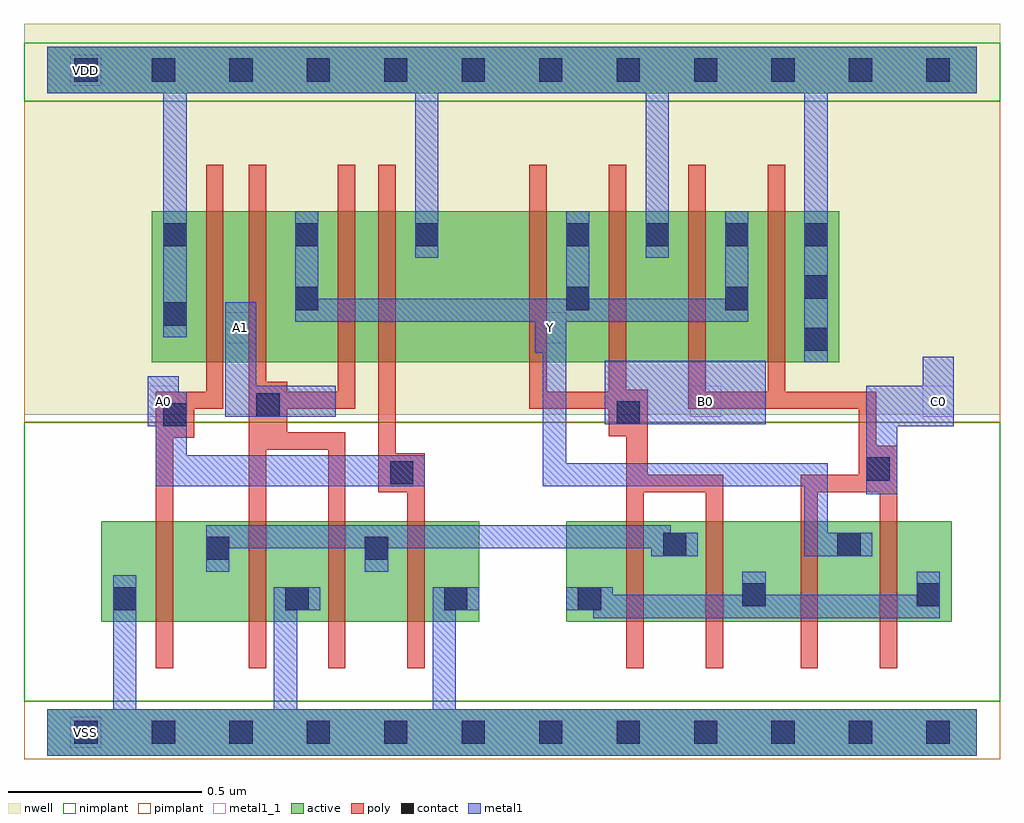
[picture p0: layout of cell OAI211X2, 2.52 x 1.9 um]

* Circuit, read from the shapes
.subckt OAI211X2 A0 A1 B0 C0 VDD VSS Y
M1 n1 A0 VSS VSS nfet w=0.26u l=0.045u m=2
M2 VSS A1 n1 VSS nfet w=0.26u l=0.045u m=2
M3 n1 B0 n2 VSS nfet w=0.26u l=0.045u m=2
M4 Y C0 n2 VSS nfet w=0.26u l=0.045u m=2
M5 n3 A0 VDD VDD pfet w=0.39u l=0.045u
M6 Y A1 n3 VDD pfet w=0.39u l=0.045u
M7 n4 A1 Y VDD pfet w=0.39u l=0.045u
M8 VDD A0 n4 VDD pfet w=0.39u l=0.045u
M9 Y B0 VDD VDD pfet w=0.39u l=0.045u m=2
M10 Y C0 VDD VDD pfet w=0.39u l=0.045u m=2
.ends

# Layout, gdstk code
import gdstk
lib = gdstk.Library(unit=1e-6, precision=5e-10)
def R(c, l, rs):  # rectangles x0, y0, x1, y1
    for r in rs: c.add(gdstk.rectangle(r[:2], r[2:], *l))
def A(c, l, x, y, w, h, nx, ny, dx, dy):  # array of equal rectangles
    R(c, l, [(x+i*dx, y+j*dy, x+i*dx+w, y+j*dy+h) for i in range(nx) for j in range(ny)])
def P(c, l, *ps):  # polygons
    for p in ps: c.add(gdstk.Polygon(p, *l))
active = (1, 0)
nwell = (2, 0)
poly = (3, 0)
nimplant = (4, 0)
pimplant = (5, 0)
contact = (6, 0)
metal1 = (7, 0)
metal1_1 = (7, 1)

oai211x2 = lib.new_cell('OAI211X2')
R(oai211x2, active, [(0,-0.06,2.4,0.06), (0.14,0.285,1.115,0.545), (1.34,0.285,2.335,0.545), (0.27,0.955,2.045,1.345), (0,1.65,2.4,1.77)])
R(oai211x2, nwell, [(-0.06,0.82,2.46,1.83)])
P(oai211x2, poly, [(0.41,1.465),(0.455,1.465),(0.455,0.835),(0.38,0.835),(0.38,0.76),(0.325,0.76),(0.325,0.165),(0.28,0.165),(0.28,0.88),(0.41,0.88)],
  [(0.52,1.465),(0.565,1.465),(0.565,0.905),(0.62,0.905),(0.62,0.88),(0.75,0.88),(0.75,1.465),(0.795,1.465),(0.795,0.835),(0.62,0.835),(0.62,0.775),(0.77,0.775),(0.77,0.165),(0.725,0.165),(0.725,0.73),(0.565,0.73),(0.565,0.165),(0.52,0.165)],
  [(0.855,1.465),(0.9,1.465),(0.9,0.72),(0.975,0.72),(0.975,0.165),(0.93,0.165),(0.93,0.62),(0.855,0.62)],
  [(1.245,1.465),(1.29,1.465),(1.29,0.88),(1.45,0.88),(1.45,1.465),(1.495,1.465),(1.495,0.885),(1.55,0.885),(1.55,0.665),(1.745,0.665),(1.745,0.165),(1.7,0.165),(1.7,0.62),(1.54,0.62),(1.54,0.165),(1.495,0.165),(1.495,0.765),(1.45,0.765),(1.45,0.835),(1.245,0.835)],
  [(1.655,1.465),(1.7,1.465),(1.7,0.88),(1.86,0.88),(1.86,1.465),(1.905,1.465),(1.905,0.88),(2.14,0.88),(2.14,0.74),(2.195,0.74),(2.195,0.165),(2.15,0.165),(2.15,0.62),(1.99,0.62),(1.99,0.165),(1.945,0.165),(1.945,0.665),(2.095,0.665),(2.095,0.835),(1.655,0.835)])
R(oai211x2, nimplant, [(-0.06,0.08,2.46,0.8), (-0.06,1.63,2.46,1.78)])
R(oai211x2, pimplant, [(-0.06,-0.07,2.46,0.08), (-0.06,0.8,2.46,1.63)])
A(oai211x2, contact, 0.07, -0.03, 0.06, 0.06, 12, 2, 0.2, 1.71)
A(oai211x2, contact, 1.34, 1.255, 0.06, 0.06, 4, 1, 0.205, 0)
R(oai211x2, contact, [(0.17,0.315,0.23,0.375), (0.615,0.315,0.675,0.375), (1.025,0.315,1.085,0.375), (1.37,0.315,1.43,0.375), (1.795,0.325,1.855,0.385), (2.245,0.325,2.305,0.385), (0.41,0.445,0.47,0.505), (0.82,0.445,0.88,0.505), (1.59,0.455,1.65,0.515), (2.04,0.455,2.1,0.515), (0.885,0.64,0.945,0.7), (2.115,0.65,2.175,0.71), (0.3,0.79,0.36,0.85), (1.47,0.795,1.53,0.855), (0.54,0.815,0.6,0.875), (1.955,0.985,2.015,1.045), (0.3,1.05,0.36,1.11), (0.64,1.09,0.7,1.15), (1.34,1.09,1.4,1.15), (1.75,1.09,1.81,1.15), (1.955,1.12,2.015,1.18), (0.3,1.255,0.36,1.315), (0.64,1.255,0.7,1.315), (0.95,1.255,1.01,1.315)])
R(oai211x2, metal1, [(1.44,0.795,1.855,0.96)])
P(oai211x2, metal1, [(0,1.77),(2.4,1.77),(2.4,1.65),(2.015,1.65),(2.015,0.955),(1.955,0.955),(1.955,1.65),(1.605,1.65),(1.605,1.225),(1.545,1.225),(1.545,1.65),(1.01,1.65),(1.01,1.225),(0.95,1.225),(0.95,1.65),(0.36,1.65),(0.36,1.02),(0.3,1.02),(0.3,1.65),(0,1.65)],
  [(0.64,1.345),(0.7,1.345),(0.7,1.12),(1.34,1.12),(1.34,1.345),(1.4,1.345),(1.4,1.12),(1.75,1.12),(1.75,1.345),(1.81,1.345),(1.81,1.06),(1.34,1.06),(1.34,0.695),(2.015,0.695),(2.015,0.515),(2.13,0.515),(2.13,0.455),(1.955,0.455),(1.955,0.635),(1.28,0.635),(1.28,0.98),(1.26,0.98),(1.26,1.06),(0.64,1.06)],
  [(0.46,1.11),(0.54,1.11),(0.54,0.895),(0.745,0.895),(0.745,0.815),(0.46,0.815)],
  [(0.26,0.92),(0.34,0.92),(0.34,0.88),(0.36,0.88),(0.36,0.715),(0.975,0.715),(0.975,0.635),(0.28,0.635),(0.28,0.79),(0.26,0.79)],
  [(2.26,0.97),(2.34,0.97),(2.34,0.79),(2.195,0.79),(2.195,0.615),(2.115,0.615),(2.115,0.895),(2.26,0.895)],
  [(0.41,0.535),(1.61,0.535),(1.61,0.515),(1.68,0.515),(1.68,0.455),(1.56,0.455),(1.56,0.475),(0.88,0.475),(0.88,0.415),(0.82,0.415),(0.82,0.475),(0.47,0.475),(0.47,0.415),(0.41,0.415)],
  [(0.17,0.405),(0.23,0.405),(0.23,0.06),(0.585,0.06),(0.585,0.375),(0.705,0.375),(0.705,0.315),(0.645,0.315),(0.645,0.06),(0.995,0.06),(0.995,0.375),(1.115,0.375),(1.115,0.315),(1.055,0.315),(1.055,0.06),(2.4,0.06),(2.4,-0.06),(0,-0.06),(0,0.06),(0.17,0.06)],
  [(1.34,0.375),(1.46,0.375),(1.46,0.355),(1.795,0.355),(1.795,0.415),(1.855,0.415),(1.855,0.355),(2.245,0.355),(2.245,0.415),(2.305,0.415),(2.305,0.295),(1.41,0.295),(1.41,0.315),(1.34,0.315)])
R(oai211x2, metal1_1, [(0.06,-0.04,0.14,0.04), (0.26,0.815,0.34,0.895), (1.66,0.815,1.74,0.895), (2.26,0.815,2.34,0.895), (0.46,1.005,0.54,1.085), (1.26,1.005,1.34,1.085), (0.06,1.67,0.14,1.75)])
oai211x2.add(gdstk.Label('Y', (1.3,1.045), layer=7, texttype=1))
oai211x2.add(gdstk.Label('A1', (0.5,1.045), layer=7, texttype=1))
oai211x2.add(gdstk.Label('A0', (0.3,0.855), layer=7, texttype=1))
oai211x2.add(gdstk.Label('B0', (1.7,0.855), layer=7, texttype=1))
oai211x2.add(gdstk.Label('C0', (2.3,0.855), layer=7, texttype=1))
oai211x2.add(gdstk.Label('VDD', (0.1,1.71), layer=7, texttype=1))
oai211x2.add(gdstk.Label('VSS', (0.1,0), layer=7, texttype=1))
oai211x2.add(gdstk.Label('OAI211X2', (0,0), layer=63, texttype=0))

lib.write_gds('OAI211X2.gds')
